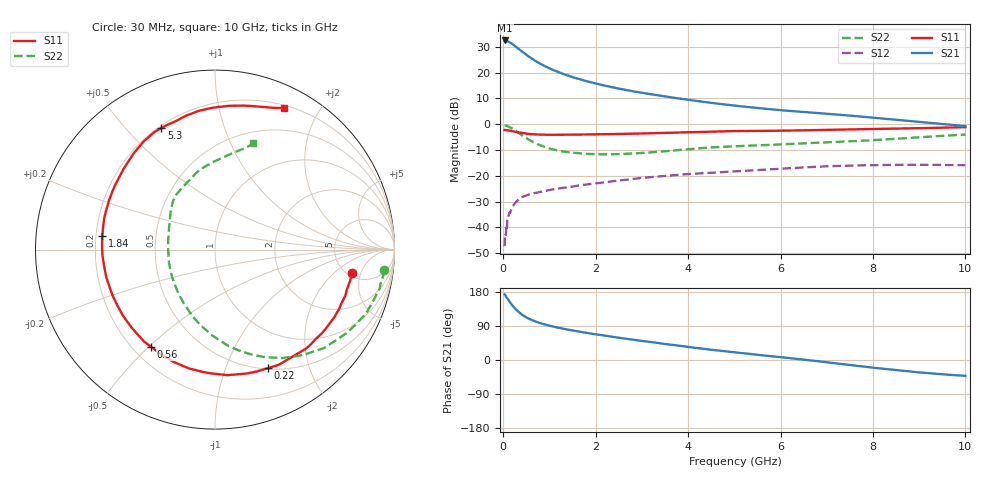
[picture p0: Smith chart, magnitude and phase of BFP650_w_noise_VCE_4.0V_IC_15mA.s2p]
! Infineon Technologies  Discrete & RF Semiconductors
! BFP650
! VCE =  4.0 V,  IC =  15 mA
! Common Emitter S-Parameters:  Jan 2016
# GHz  S  MA  R  50
!  f  S11  S21  S12  S22
! GHz  MAG  ANG  MAG  ANG  MAG  ANG  MAG  ANG
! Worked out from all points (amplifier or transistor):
!   229 points, 30 MHz to 10 GHz, reference 50 ohm
!   highest |S21| = 32.5 dB at 40 MHz (marker M1)
!   |S21| within 3 dB of that: start of sweep to 315 MHz
!   unconditionally stable (mu >= 1): 2.874 GHz to end of sweep
!   at 280 MHz: K = 0.21, MSG = 30.1 dB, |S12| = -30.1 dB
!   at 1.78 GHz: K = 0.84, MSG = 20.1 dB, |S12| = -23.5 dB
!   at 10 GHz: K = 1.05, MAG = 6.3 dB, |S12| = -15.9 dB
!   lowest NFmin = 0.62 dB at 450 MHz
!   S11 on the Smith chart (normalised r, x): 30 MHz: 5.49, -3.59; 220 MHz: 0.51, -1.42; 560 MHz: 0.27, -0.51; 1.84 GHz: 0.23, +0.06; 5.3 GHz: 0.21, +0.63; 10 GHz: 0.23, +1.58
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0.03  0.7752 -9.7  42.17 173.2  0.0043 71.4  0.948 -6.9
0.04  0.7726 -13.1  42.3 171.2  0.0067 71.4  0.9486 -8.9
0.1  0.7601 -32.6  40.71 160.3  0.0151 70.3  0.9152 -22.2
0.13  0.7504 -41.5  39.25 154.9  0.0191 64.8  0.8862 -28.5
0.2  0.7338 -61.0  35.94 143.6  0.0251 59.2  0.8189 -42.0
0.22  0.7233 -65.9  34.84 140.9  0.0266 57.4  0.7947 -45.3
0.3  0.7032 -84.3  30.72 130.4  0.0325 52.4  0.7102 -58.3
0.4  0.6776 -102.4  26.04 120.2  0.0384 46.0  0.6142 -71.5
0.5  0.6581 -116.5  22.26 112.4  0.0416 42.0  0.5377 -82.7
0.56  0.6483 -123.2  20.42 109.0  0.0434 41.2  0.4991 -88.2
0.7  0.6363 -136.9  16.86 101.3  0.0465 38.0  0.4281 -100.9
0.92  0.6257 -151.9  13.15 93.1  0.051 35.5  0.3563 -117.0
1.3  0.6245 -169.7  9.437 82.5  0.0583 34.4  0.2958 -139.8
1.7  0.63 176.9  7.268 73.8  0.066 33.4  0.2692 -159.0
1.84  0.6326 173.0  6.718 70.9  0.0682 33.1  0.2658 -164.7
2.56  0.6495 156.1  4.803 57.7  0.0818 30.1  0.265 170.3
3.4  0.6748 140.3  3.574 44.0  0.0976 24.7  0.2944 149.5
5.1  0.7377 116.1  2.251 19.0  0.1233 12.6  0.3773 123.8
5.3  0.74 113.8  2.155 16.5  0.1263 11.2  0.3827 121.1
6.8  0.7713 98.9  1.65 -3.1  0.1498 -1.1  0.4371 104.3
8.4  0.8176 78.8  1.247 -25.5  0.1626 -16.8  0.5154 85.1
10  0.8777 64.0  0.919 -41.8  0.1607 -28.6  0.6296 70.2
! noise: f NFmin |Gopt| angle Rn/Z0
0.45  0.62  0.09  77  0.63
0.9  0.63  0.13  149  0.3
1.9  0.82  0.25  177  0.05
2.4  0.9  0.27  -167  0.07
3.5  1.2  0.32  -133  0.12
